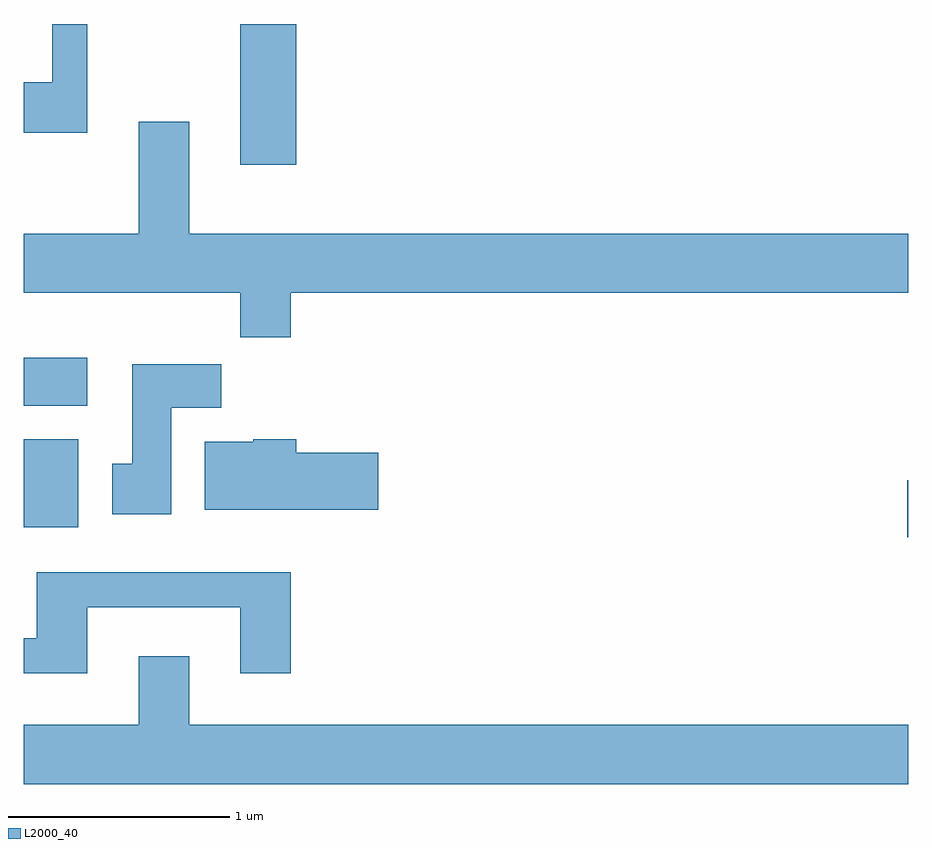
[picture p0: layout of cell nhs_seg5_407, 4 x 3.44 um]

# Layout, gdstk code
import gdstk
lib = gdstk.Library(unit=1e-6, precision=1e-09)
def R(c, l, rs):  # rectangles x0, y0, x1, y1
    for r in rs: c.add(gdstk.rectangle(r[:2], r[2:], *l))
def P(c, l, *ps):  # polygons
    for p in ps: c.add(gdstk.Polygon(p, *l))
L2000_40 = (2000, 40)

nhs_seg5_407 = lib.new_cell('nhs_seg5_407')
R(nhs_seg5_407, L2000_40, [(201.606,1395.751,201.611,1396.009), (197.611,1395.796,197.859,1396.194), (197.611,1396.346,197.899,1396.564), (198.591,1397.436,198.844,1398.072)])
P(nhs_seg5_407, L2000_40, [(197.899,1398.072),(197.741,1398.072),(197.741,1397.809),(197.611,1397.809),(197.611,1397.581),(197.899,1397.581)],
  [(198.819,1396.856),(201.611,1396.856),(201.611,1397.124),(198.359,1397.124),(198.359,1397.629),(198.131,1397.629),(198.131,1397.124),(197.611,1397.124),(197.611,1396.856),(198.591,1396.856),(198.591,1396.656),(198.819,1396.656)],
  [(198.279,1396.336),(198.504,1396.336),(198.504,1396.534),(198.101,1396.534),(198.101,1396.084),(198.011,1396.084),(198.011,1395.856),(198.279,1395.856)],
  [(199.214,1396.134),(198.844,1396.134),(198.844,1396.194),(198.65,1396.194),(198.65,1396.184),(198.431,1396.184),(198.431,1395.876),(199.214,1395.876)],
  [(197.899,1395.436),(198.591,1395.436),(198.591,1395.136),(198.819,1395.136),(198.819,1395.594),(197.671,1395.594),(197.671,1395.294),(197.611,1395.294),(197.611,1395.136),(197.899,1395.136)],
  [(201.611,1394.904),(198.359,1394.904),(198.359,1395.214),(198.131,1395.214),(198.131,1394.904),(197.611,1394.904),(197.611,1394.636),(201.611,1394.636)])

lib.write_gds('nhs_seg5_407.gds')
